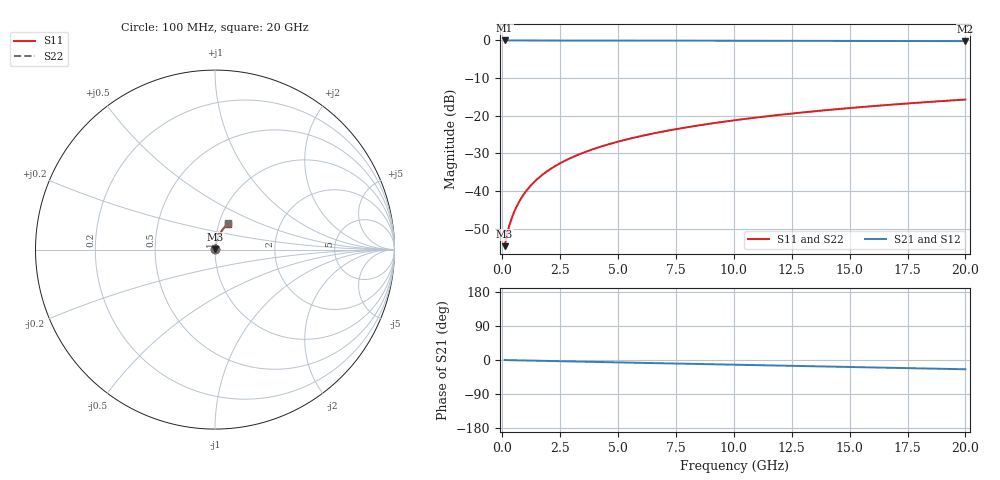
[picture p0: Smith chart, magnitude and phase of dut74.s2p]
! Touchstone file exported from HFSS 2026.1.0
!  File:  C:/ffzhzh/LocalFiles/Ansys_Project_Files/temp_train_BSMRDL_74_1782882944_46784.aedt
!  Generated:  01:16:57 PM Jul  1, 2026
!  Design:  BSMRDL
!  Project:  temp_train_BSMRDL_74_1782882944_46784
! Variables:
!  h_bsmrdl = 5.09um
!  h_ox = 20um
!  h_rdl = 5um
!  h_sub = 80um
!  h_tmrdl = 5um
!  h_tsv = 80um
!  h_via = 3um
!  l_bsmrdl = 386.15um
!  l_sub = 786.15um
!  l_tmrdl = 200um
!  m_sub = 200um
!  pitch = 34.8um
!  r_tsv = 6um
!  s_tmrdl = 10um
!  w_bsmrdl = 20.52um
!  w_sub = 500um
!  w_tmrdl = 12um
!  x_tsv_center1 = 206um
!  x_tsv_center2 = 612.67um
!  x_tsv_center3 = 824.67um
!  x_tsv_center4 = 1231.34um
!  x_tsv_center5 = 1443.34um
!  x_tsv_center6 = 1850.01um
# GHz S MA R 50.000000
! Terminal data exported
! Port[1] = BSM_RDL1_1_T1
! Port[2] = BSM_RDL1_1_T2
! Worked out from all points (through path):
!   200 points, 100 MHz to 20 GHz, reference 50 ohm
!   highest |S21| = -0.01 dB at 100 MHz (marker M1); lowest = -0.2 dB at 20 GHz (marker M2)
!   group delay of S21, straight-line fit = 3.38 ps
!   lowest |S11| = -54.7 dB at 100 MHz (marker M3), VSWR 1.00, Z = 50.1 + j0.11 ohm
!   |S11| at or under -10 dB: start of sweep to end of sweep
!   |S22| runs from -54.7 to -15.7 dB; largest |S21 - S12| = 3.3e-15
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0.1  0.001843 36.4  0.9985 -0.1  0.9985 -0.1  0.001843 36.4
! Gamma 0 0 0 0
! Port Impedance 50 0 50 0
0.2  0.002614 52.0  0.9984 -0.3  0.9984 -0.3  0.002613 52.0
0.3  0.003428 60.4  0.9983 -0.4  0.9983 -0.4  0.003427 60.4
0.4  0.004272 65.7  0.9982 -0.5  0.9982 -0.5  0.004271 65.7
0.5  0.005141 69.4  0.9982 -0.7  0.9982 -0.7  0.00514 69.4
0.6  0.006028 72.0  0.9981 -0.8  0.9981 -0.8  0.006027 72.0
0.8  0.007834 75.3  0.998 -1.0  0.998 -1.0  0.007834 75.4
1.1  0.01058 78.0  0.9979 -1.4  0.9979 -1.4  0.01058 78.0
1.3  0.01242 79.0  0.9978 -1.7  0.9978 -1.7  0.01242 79.0
1.6  0.01517 79.8  0.9977 -2.0  0.9977 -2.0  0.01517 79.8
2.1  0.01972 80.3  0.9974 -2.7  0.9974 -2.7  0.01972 80.3
2.7  0.02512 80.3  0.9969 -3.4  0.9969 -3.4  0.02512 80.3
3.5  0.03219 79.9  0.9963 -4.4  0.9963 -4.4  0.03219 79.9
4.2  0.03828 79.3  0.9957 -5.3  0.9957 -5.3  0.03828 79.3
5  0.04515 78.6  0.995 -6.3  0.995 -6.3  0.04514 78.6
5.9  0.05277 77.8  0.9942 -7.4  0.9942 -7.4  0.05277 77.8
6.8  0.06031 76.9  0.9933 -8.5  0.9933 -8.5  0.06031 76.9
8.3  0.07273 75.4  0.9919 -10.3  0.9919 -10.3  0.07273 75.4
10.1  0.08741 73.5  0.9901 -12.5  0.9901 -12.5  0.08741 73.5
13.4  0.1137 70.0  0.9866 -16.5  0.9866 -16.5  0.1137 70.0
16.7  0.1392 66.3  0.9825 -20.5  0.9825 -20.5  0.1392 66.4
20  0.1637 62.7  0.9781 -24.4  0.9781 -24.4  0.1637 62.7
